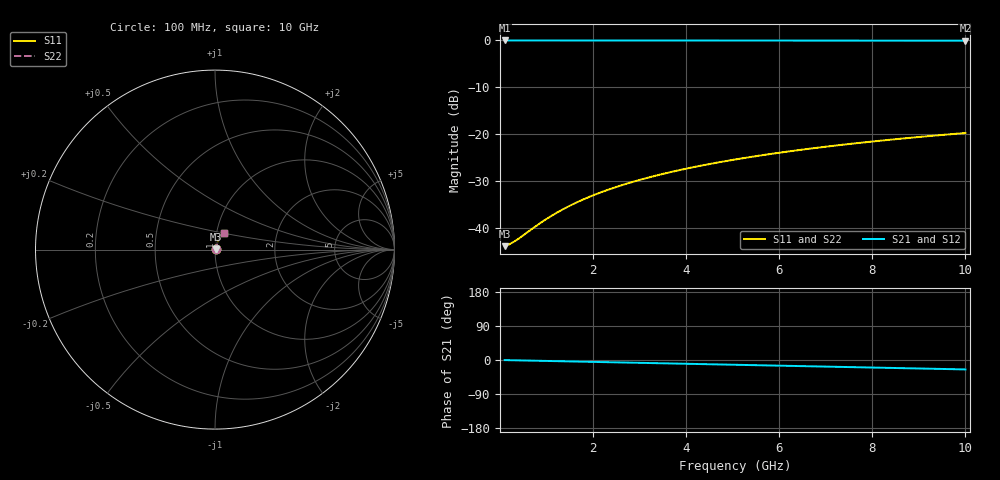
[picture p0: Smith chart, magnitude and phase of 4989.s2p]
# Hz S RI R 50.00
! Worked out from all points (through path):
!   100 points, 100 MHz to 10 GHz, reference 50 ohm
!   highest |S21| = -0.05 dB at 100 MHz (marker M1); lowest = -0.1 dB at 10 GHz (marker M2)
!   group delay of S21, straight-line fit = 6.91 ps
!   lowest |S11| = -43.9 dB at 100 MHz (marker M3), VSWR 1.01, Z = 50.6 + j0.104 ohm
!   |S11| at or under -10 dB: start of sweep to end of sweep
!   |S22| runs from -43.9 to -19.8 dB; largest |S21 - S12| = 0
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1e8  0.00627 0.00103  0.9937 -0.00432  0.9937 -0.00432  0.00627 0.00103
2e8  0.00632 0.00206  0.9936 -0.00865  0.9936 -0.00865  0.00632 0.00206
3e8  0.00638 0.00309  0.9936 -0.013  0.9936 -0.013  0.00638 0.00309
4e8  0.00643 0.00412  0.9935 -0.0173  0.9935 -0.0173  0.00643 0.00412
9e8  0.0068 0.00927  0.9927 -0.0389  0.9927 -0.0389  0.0068 0.00927
1.2e9  0.00712 0.0123  0.9921 -0.0518  0.9921 -0.0518  0.00712 0.0123
1.5e9  0.00751 0.0154  0.9912 -0.0648  0.9912 -0.0648  0.00751 0.0154
1.8e9  0.00798 0.0185  0.9902 -0.0777  0.9902 -0.0777  0.00798 0.0185
2.1e9  0.00853 0.0215  0.989 -0.0906  0.989 -0.0906  0.00853 0.0215
2.5e9  0.00938 0.0255  0.9871 -0.1078  0.9871 -0.1078  0.00938 0.0255
2.9e9  0.0104 0.0295  0.985 -0.1249  0.985 -0.1249  0.0104 0.0295
3.4e9  0.0118 0.0345  0.9818 -0.1463  0.9818 -0.1463  0.0118 0.0345
3.8e9  0.0131 0.0384  0.9789 -0.1633  0.9789 -0.1633  0.0131 0.0384
4.2e9  0.0145 0.0422  0.9757 -0.1802  0.9757 -0.1802  0.0145 0.0422
4.6e9  0.0161 0.046  0.9723 -0.1971  0.9723 -0.1971  0.0161 0.046
5.1e9  0.0182 0.0507  0.9675 -0.2181  0.9675 -0.2181  0.0182 0.0507
5.9e9  0.0221 0.058  0.9588 -0.2515  0.9588 -0.2515  0.0221 0.058
6.7e9  0.0264 0.0649  0.9489 -0.2844  0.9489 -0.2844  0.0264 0.0649
7.5e9  0.0312 0.0716  0.9379 -0.317  0.9379 -0.317  0.0312 0.0716
8.4e9  0.0371 0.0786  0.9241 -0.353  0.9241 -0.353  0.0371 0.0786
9.2e9  0.0429 0.0845  0.9106 -0.3845  0.9106 -0.3845  0.0429 0.0845
1e10  0.049 0.0899  0.8961 -0.4154  0.8961 -0.4154  0.049 0.0899
